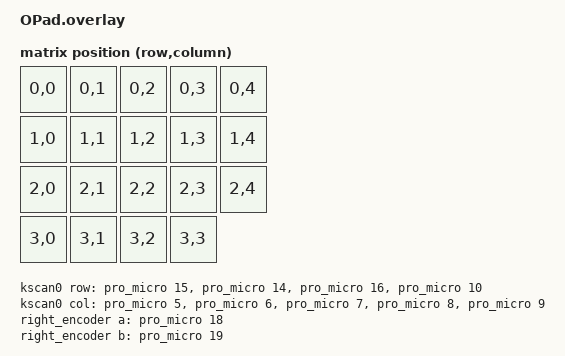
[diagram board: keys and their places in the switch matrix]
#include <dt-bindings/zmk/matrix_transform.h>
#include "OPad-layouts.dtsi"

/ {
	chosen {
		zmk,kscan = &kscan0;
		zmk,keymap_transform = &default_transform;
		zmk,physical-layout = &physical_layout0;
	};
	
    kscan0: kscan0 {
        compatible = "zmk,kscan-gpio-matrix";
        diode-direction = "col2row";
        wakeup-source;

        col-gpios =
              <&pro_micro 5 GPIO_ACTIVE_HIGH>
              <&pro_micro 6 GPIO_ACTIVE_HIGH>,
              <&pro_micro 7 GPIO_ACTIVE_HIGH>,
              <&pro_micro 8 GPIO_ACTIVE_HIGH>,
              <&pro_micro 9 GPIO_ACTIVE_HIGH>;
              

        row-gpios =
              <&pro_micro 15 (GPIO_ACTIVE_HIGH | GPIO_PULL_DOWN)>
              <&pro_micro 14 (GPIO_ACTIVE_HIGH | GPIO_PULL_DOWN)>,
              <&pro_micro 16 (GPIO_ACTIVE_HIGH | GPIO_PULL_DOWN)>,
              <&pro_micro 10 (GPIO_ACTIVE_HIGH | GPIO_PULL_DOWN)>;
    };
    
    default_transform: keymap_transform0 {
        compatible = "zmk,matrix-transform";
        columns = <5>; // Length of the "col-gpios" array
        rows = <4>; // Length of the "row-gpios" array
        map = <
        //   Key 1 | Key 2 | Key 3 | Key 4 | Key 5
            RC(0,0) RC(0,1) RC(0,2) RC(0,3) RC(0,4)
        //   Key 6 | Key 7 | Key 8 | Key 9 | Key 10
            RC(1,0) RC(1,1) RC(1,2) RC(1,3) RC(1,4)
        //   Key 11 | Key 12 | Key 13 | Key 14 | Key 15
            RC(2,0) RC(2,1) RC(2,2) RC(2,3) RC(2,4)
        //   Key 16 | Key 17 | Key 18 | Key 19
            RC(3,0) RC(3,1) RC(3,2) RC(3,3)
        >;
    };
    
    right_encoder: encoder_right {
    	compatible = "alps,ec11";
    	a-gpios = <&pro_micro 18 (GPIO_ACTIVE_HIGH | GPIO_PULL_UP)>;
    	b-gpios = <&pro_micro 19 (GPIO_ACTIVE_HIGH | GPIO_PULL_UP)>;
    	steps = <80>;
    	status = "disabled";
    };
    
    sensors: sensors {
    	compatible = "zmk,keymap-sensors";
        sensors = <&right_encoder>;
        triggers-per-rotation = <20>;
    };
    
    &right_encoder {
    	status = "okay";
	};
};
